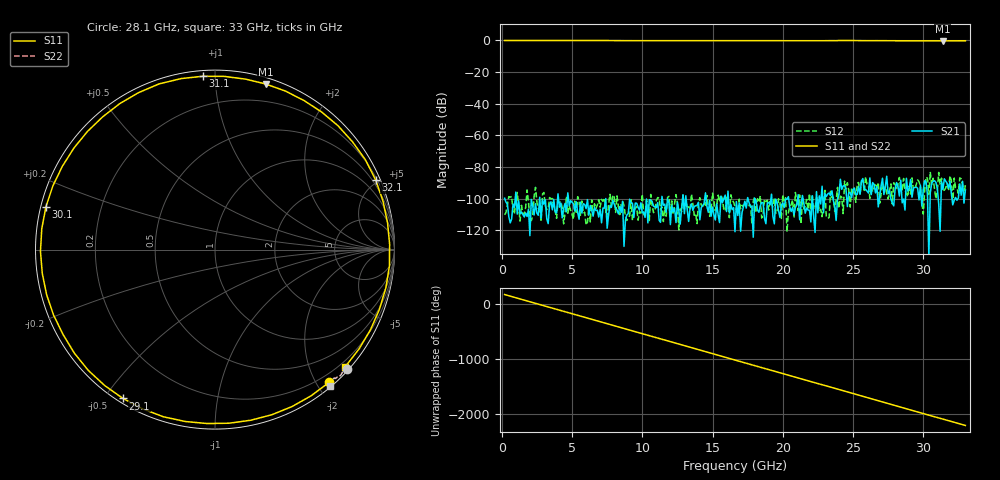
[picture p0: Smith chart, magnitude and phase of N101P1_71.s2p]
# GHZ S RI R 50
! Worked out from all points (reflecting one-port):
!   329 points, 200 MHz to 33 GHz, reference 50 ohm
!   lowest |S11| = -0.3 dB at 31.4 GHz (marker M1), VSWR 56.07, Z = 2.52 + j67.5 ohm
!   phase of S11 starts at 165 deg and turns -2367 deg over the sweep
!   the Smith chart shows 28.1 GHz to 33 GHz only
!   S11 on the Smith chart (normalised r, x): 28.1 GHz: 0.07, -2.17; 29.1 GHz: 0.02, -0.56; 30.1 GHz: 0.01, +0.12; 31.1 GHz: 0.03, +0.93; 32.1 GHz: 0.30, +4.80; 33 GHz: 0.10, -2.61
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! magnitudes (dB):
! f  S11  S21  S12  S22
! 200 MHz  0.0  -99.7  -110.2  0.0
! 5.7 GHz  -0.1  -109.1  -101.5  0.0
! 11.2 GHz  -0.2  -113.7  -99.8  0.0
! 16.6 GHz  -0.1  -120.8  -104.9  0.0
! 20.2 GHz  -0.2  -100.3  -99.4  -0.1
! 22.1 GHz  -0.2  -98.2  -97.5  -0.1
! 22.9 GHz  -0.2  -108.9  -101.7  0.0
! 23.3 GHz  -0.1  -96.4  -111.9  0.0
! 23.5 GHz  -0.2  -95.0  -99.4  -0.1
! 23.9 GHz  -0.1  -100.0  -92.8  0.1
! 26.3 GHz  -0.2  -97.4  -92.1  0.0
! 26.6 GHz  -0.1  -96.4  -90.5  -0.1
! 27.6 GHz  -0.2  -95.1  -94.9  0.0
! 28.1 GHz  -0.2  -89.8  -93.6  -0.1
! 28.7 GHz  -0.3  -107.2  -95.1  -0.2
! 29.1 GHz  -0.2  -87.9  -97.1  -0.1
! 30.1 GHz  -0.2  -88.7  -95.2  -0.1
! 31.1 GHz  -0.3  -103.1  -83.4  -0.1
! 31.4 GHz  -0.3  -94.3  -94.7  -0.2
! 31.9 GHz  -0.2  -89.3  -85.5  -0.2
! 32.1 GHz  -0.2  -103.9  -103.3  -0.1
! 33 GHz  -0.2  -94.5  -91.3  0.0
